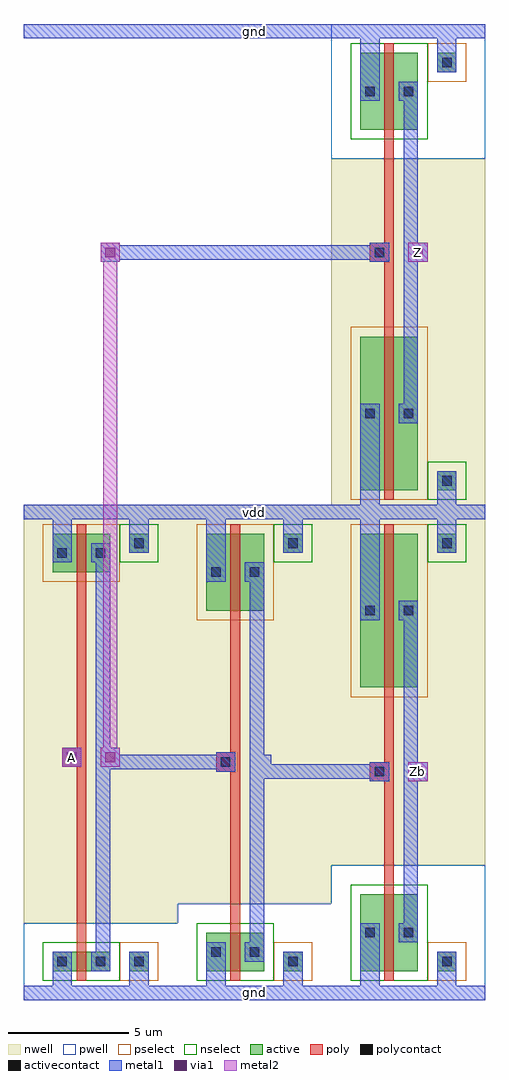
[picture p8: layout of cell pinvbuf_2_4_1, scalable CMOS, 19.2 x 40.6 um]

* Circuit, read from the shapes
.subckt pinvbuf_2_4_1 A Z Zb gnd vdd
M1 pinv_4_1/A A gnd gnd nfet w=0.8u l=0.4u
M2 pinv_5_2/A pinv_4_1/A gnd gnd nfet w=1.6u l=0.4u
M3 Zb pinv_5_2/A gnd gnd nfet w=3.2u l=0.4u
M4 Z pinv_4_1/A gnd gnd nfet w=3.2u l=0.4u
M5 pinv_4_1/A A vdd vdd pfet w=1.6u l=0.4u
M6 pinv_5_2/A pinv_4_1/A vdd vdd pfet w=3.2u l=0.4u
M7 Zb pinv_5_2/A vdd vdd pfet w=6.4u l=0.4u
M8 Z pinv_4_1/A vdd vdd pfet w=6.4u l=0.4u
.ends

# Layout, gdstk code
from math import pi, radians
import gdstk
lib = gdstk.Library(unit=1e-6, precision=1e-09)
def R(c, l, rs):  # rectangles x0, y0, x1, y1
    for r in rs: c.add(gdstk.rectangle(r[:2], r[2:], *l))
def A(c, l, x, y, w, h, nx, ny, dx, dy):  # array of equal rectangles
    R(c, l, [(x+i*dx, y+j*dy, x+i*dx+w, y+j*dy+h) for i in range(nx) for j in range(ny)])
pwell = (41, 0)
nwell = (42, 0)
active = (43, 0)
pselect = (44, 0)
nselect = (45, 0)
poly = (46, 0)
polycontact = (47, 0)
activecontact = (48, 0)
metal1 = (49, 0)
via1 = (50, 0)
metal2 = (51, 0)

active_contact_metal1_1x = lib.new_cell('active_contact_metal1_1x1_pn')
R(active_contact_metal1_1x, nwell, [(-1.2,-1.2,2,2)])
R(active_contact_metal1_1x, active, [(0,0,0.8,0.8)])
R(active_contact_metal1_1x, pselect, [(-0.4,-0.4,1.2,1.2)])
R(active_contact_metal1_1x, activecontact, [(0.2,0.2,0.6,0.6)])
R(active_contact_metal1_1x, metal1, [(0,0,0.8,0.8)])

pmos_m1_w1_6_a_p = lib.new_cell('pmos_m1_w1_6_a_p')
R(pmos_m1_w1_6_a_p, nwell, [(-1.2,-1.2,3.6,2.8)])
R(pmos_m1_w1_6_a_p, active, [(0,0,2.4,1.6)])
R(pmos_m1_w1_6_a_p, pselect, [(-0.4,-0.4,2.8,2)])
R(pmos_m1_w1_6_a_p, poly, [(1,-0.4,1.4,2), (1,-0.4,1.4,2)])
R(pmos_m1_w1_6_a_p, metal1, [(0,0.4,0.8,1.2), (1.6,0.4,2.4,1.2)])
pmos_m1_w1_6_a_p.add(gdstk.Reference(active_contact_metal1_1x, (0,0.4)))
pmos_m1_w1_6_a_p.add(gdstk.Reference(active_contact_metal1_1x, (1.6,0.4)))
pmos_m1_w1_6_a_p.add(gdstk.Label('G', (1.2,0.8), layer=46, texttype=0))
pmos_m1_w1_6_a_p.add(gdstk.Label('S', (0.4,0.8), layer=49, texttype=0))
pmos_m1_w1_6_a_p.add(gdstk.Label('D', (2,0.8), layer=49, texttype=0))

c_active_contact_metal1_1x = lib.new_cell('active_contact_metal1_1x1_np')
R(c_active_contact_metal1_1x, pwell, [(-1.2,-1.2,2,2)])
R(c_active_contact_metal1_1x, active, [(0,0,0.8,0.8)])
R(c_active_contact_metal1_1x, nselect, [(-0.4,-0.4,1.2,1.2)])
R(c_active_contact_metal1_1x, activecontact, [(0.2,0.2,0.6,0.6)])
R(c_active_contact_metal1_1x, metal1, [(0,0,0.8,0.8)])

nmos_m1_w0_8_a_p = lib.new_cell('nmos_m1_w0_8_a_p')
R(nmos_m1_w0_8_a_p, pwell, [(-1.2,-1.2,3.6,2)])
R(nmos_m1_w0_8_a_p, active, [(0,0,2.4,0.8)])
R(nmos_m1_w0_8_a_p, nselect, [(-0.4,-0.4,2.8,1.2)])
R(nmos_m1_w0_8_a_p, poly, [(1,-0.4,1.4,1.2), (1,-0.4,1.4,1.2)])
R(nmos_m1_w0_8_a_p, metal1, [(0,0,0.8,0.8), (1.6,0,2.4,0.8)])
nmos_m1_w0_8_a_p.add(gdstk.Reference(c_active_contact_metal1_1x, (0,0)))
nmos_m1_w0_8_a_p.add(gdstk.Reference(c_active_contact_metal1_1x, (1.6,0)))
nmos_m1_w0_8_a_p.add(gdstk.Label('G', (1.2,0.4), layer=46, texttype=0))
nmos_m1_w0_8_a_p.add(gdstk.Label('S', (0.4,0.4), layer=49, texttype=0))
nmos_m1_w0_8_a_p.add(gdstk.Label('D', (2,0.4), layer=49, texttype=0))

c_active_contact_metal1_1x_ = lib.new_cell('active_contact_metal1_1x1_nn')
R(c_active_contact_metal1_1x_, nwell, [(-1.2,-1.2,2,2)])
R(c_active_contact_metal1_1x_, active, [(0,0,0.8,0.8)])
R(c_active_contact_metal1_1x_, nselect, [(-0.4,-0.4,1.2,1.2)])
R(c_active_contact_metal1_1x_, activecontact, [(0.2,0.2,0.6,0.6)])
R(c_active_contact_metal1_1x_, metal1, [(0,0,0.8,0.8)])

c_active_contact_metal1_1x__ = lib.new_cell('active_contact_metal1_1x1_pp')
R(c_active_contact_metal1_1x__, pwell, [(-1.2,-1.2,2,2)])
R(c_active_contact_metal1_1x__, active, [(0,0,0.8,0.8)])
R(c_active_contact_metal1_1x__, pselect, [(-0.4,-0.4,1.2,1.2)])
R(c_active_contact_metal1_1x__, activecontact, [(0.2,0.2,0.6,0.6)])
R(c_active_contact_metal1_1x__, metal1, [(0,0,0.8,0.8)])

poly_contact_metal1_1x1 = lib.new_cell('poly_contact_metal1_1x1')
R(poly_contact_metal1_1x1, poly, [(0,0,0.8,0.8)])
R(poly_contact_metal1_1x1, polycontact, [(0.2,0.2,0.6,0.6)])
R(poly_contact_metal1_1x1, metal1, [(0,0,0.8,0.8)])

pinv_3 = lib.new_cell('pinv_3')
R(pinv_3, pwell, [(0,-0.3,6.4,2.9)])
R(pinv_3, nwell, [(0,2.9,6.4,20.3)])
R(pinv_3, poly, [(2.2,0.5,2.6,17.1), (2,9.4,2.2,10.2)])
R(pinv_3, metal1, [(0,-0.3,6.4,0.3), (1.2,-0.3,2,0.9), (4.4,0,5.2,1.3), (3,0.9,3.6,17.9), (1.6,9.4,2.4,10.2), (3.3,9.5,3.9,10.1), (1.2,17.9,2,20.3), (4.4,18.7,5.2,20), (0,19.7,6.4,20.3)])
pinv_3.add(gdstk.Reference(pmos_m1_w1_6_a_p, (1.2,17.5)))
pinv_3.add(gdstk.Reference(nmos_m1_w0_8_a_p, (1.2,0.9)))
pinv_3.add(gdstk.Reference(c_active_contact_metal1_1x_, (4.4,18.3)))
pinv_3.add(gdstk.Reference(c_active_contact_metal1_1x__, (4.4,0.9)))
pinv_3.add(gdstk.Reference(poly_contact_metal1_1x1, (1.6,9.4)))
pinv_3.add(gdstk.Label('gnd', (3.2,0), layer=49, texttype=0))
pinv_3.add(gdstk.Label('vdd', (3.2,20), layer=49, texttype=0))
pinv_3.add(gdstk.Label('A', (2,9.8), layer=49, texttype=0))
pinv_3.add(gdstk.Label('Z', (3.6,9.8), layer=49, texttype=0))

pmos_m1_w3_2_a_p = lib.new_cell('pmos_m1_w3_2_a_p')
R(pmos_m1_w3_2_a_p, nwell, [(-1.2,-1.2,3.6,4.4)])
R(pmos_m1_w3_2_a_p, active, [(0,0,2.4,3.2)])
R(pmos_m1_w3_2_a_p, pselect, [(-0.4,-0.4,2.8,3.6)])
R(pmos_m1_w3_2_a_p, poly, [(1,-0.4,1.4,3.6), (1,-0.4,1.4,3.6)])
R(pmos_m1_w3_2_a_p, metal1, [(0,1.2,0.8,2), (1.6,1.2,2.4,2)])
pmos_m1_w3_2_a_p.add(gdstk.Reference(active_contact_metal1_1x, (0,1.2)))
pmos_m1_w3_2_a_p.add(gdstk.Reference(active_contact_metal1_1x, (1.6,1.2)))
pmos_m1_w3_2_a_p.add(gdstk.Label('G', (1.2,1.6), layer=46, texttype=0))
pmos_m1_w3_2_a_p.add(gdstk.Label('S', (0.4,1.6), layer=49, texttype=0))
pmos_m1_w3_2_a_p.add(gdstk.Label('D', (2,1.6), layer=49, texttype=0))

nmos_m1_w1_6_a_p = lib.new_cell('nmos_m1_w1_6_a_p')
R(nmos_m1_w1_6_a_p, pwell, [(-1.2,-1.2,3.6,2.8)])
R(nmos_m1_w1_6_a_p, active, [(0,0,2.4,1.6)])
R(nmos_m1_w1_6_a_p, nselect, [(-0.4,-0.4,2.8,2)])
R(nmos_m1_w1_6_a_p, poly, [(1,-0.4,1.4,2), (1,-0.4,1.4,2)])
R(nmos_m1_w1_6_a_p, metal1, [(0,0.4,0.8,1.2), (1.6,0.4,2.4,1.2)])
nmos_m1_w1_6_a_p.add(gdstk.Reference(c_active_contact_metal1_1x, (0,0.4)))
nmos_m1_w1_6_a_p.add(gdstk.Reference(c_active_contact_metal1_1x, (1.6,0.4)))
nmos_m1_w1_6_a_p.add(gdstk.Label('G', (1.2,0.8), layer=46, texttype=0))
nmos_m1_w1_6_a_p.add(gdstk.Label('S', (0.4,0.8), layer=49, texttype=0))
nmos_m1_w1_6_a_p.add(gdstk.Label('D', (2,0.8), layer=49, texttype=0))

pinv_4 = lib.new_cell('pinv_4')
R(pinv_4, pwell, [(0,-0.3,6.4,3.7)])
R(pinv_4, nwell, [(0,3.7,6.4,20.3)])
R(pinv_4, poly, [(2.2,0.5,2.6,15.5), (2,9.2,2.2,10)])
R(pinv_4, metal1, [(0,-0.3,6.4,0.3), (1.2,-0.3,2,1.3), (4.4,0,5.2,1.3), (3,1.3,3.6,17.1), (1.6,9.2,2.4,10), (3.3,9.3,3.9,9.9), (1.2,17.1,2,20.3), (4.4,18.7,5.2,20), (0,19.7,6.4,20.3)])
pinv_4.add(gdstk.Reference(pmos_m1_w3_2_a_p, (1.2,15.9)))
pinv_4.add(gdstk.Reference(nmos_m1_w1_6_a_p, (1.2,0.9)))
pinv_4.add(gdstk.Reference(c_active_contact_metal1_1x_, (4.4,18.3)))
pinv_4.add(gdstk.Reference(c_active_contact_metal1_1x__, (4.4,0.9)))
pinv_4.add(gdstk.Reference(poly_contact_metal1_1x1, (1.6,9.2)))
pinv_4.add(gdstk.Label('gnd', (3.2,0), layer=49, texttype=0))
pinv_4.add(gdstk.Label('vdd', (3.2,20), layer=49, texttype=0))
pinv_4.add(gdstk.Label('A', (2,9.6), layer=49, texttype=0))
pinv_4.add(gdstk.Label('Z', (3.6,9.6), layer=49, texttype=0))

pmos_m1_w6_4_a_p = lib.new_cell('pmos_m1_w6_4_a_p')
R(pmos_m1_w6_4_a_p, nwell, [(-1.2,-1.2,3.6,7.6)])
R(pmos_m1_w6_4_a_p, active, [(0,0,2.4,6.4)])
R(pmos_m1_w6_4_a_p, pselect, [(-0.4,-0.4,2.8,6.8)])
R(pmos_m1_w6_4_a_p, poly, [(1,-0.4,1.4,6.8), (1,-0.4,1.4,6.8)])
R(pmos_m1_w6_4_a_p, metal1, [(0,2.8,0.8,3.6), (1.6,2.8,2.4,3.6)])
pmos_m1_w6_4_a_p.add(gdstk.Reference(active_contact_metal1_1x, (0,2.8)))
pmos_m1_w6_4_a_p.add(gdstk.Reference(active_contact_metal1_1x, (1.6,2.8)))
pmos_m1_w6_4_a_p.add(gdstk.Label('G', (1.2,3.2), layer=46, texttype=0))
pmos_m1_w6_4_a_p.add(gdstk.Label('S', (0.4,3.2), layer=49, texttype=0))
pmos_m1_w6_4_a_p.add(gdstk.Label('D', (2,3.2), layer=49, texttype=0))

nmos_m1_w3_2_a_p = lib.new_cell('nmos_m1_w3_2_a_p')
R(nmos_m1_w3_2_a_p, pwell, [(-1.2,-1.2,3.6,4.4)])
R(nmos_m1_w3_2_a_p, active, [(0,0,2.4,3.2)])
R(nmos_m1_w3_2_a_p, nselect, [(-0.4,-0.4,2.8,3.6)])
R(nmos_m1_w3_2_a_p, poly, [(1,-0.4,1.4,3.6), (1,-0.4,1.4,3.6)])
R(nmos_m1_w3_2_a_p, metal1, [(0,1.2,0.8,2), (1.6,1.2,2.4,2)])
nmos_m1_w3_2_a_p.add(gdstk.Reference(c_active_contact_metal1_1x, (0,1.2)))
nmos_m1_w3_2_a_p.add(gdstk.Reference(c_active_contact_metal1_1x, (1.6,1.2)))
nmos_m1_w3_2_a_p.add(gdstk.Label('G', (1.2,1.6), layer=46, texttype=0))
nmos_m1_w3_2_a_p.add(gdstk.Label('S', (0.4,1.6), layer=49, texttype=0))
nmos_m1_w3_2_a_p.add(gdstk.Label('D', (2,1.6), layer=49, texttype=0))

pinv_5 = lib.new_cell('pinv_5')
R(pinv_5, pwell, [(0,-0.3,6.4,5.3)])
R(pinv_5, nwell, [(0,5.3,6.4,20.3)])
R(pinv_5, poly, [(2.2,0.5,2.6,12.3), (2,8.8,2.2,9.6)])
R(pinv_5, metal1, [(0,-0.3,6.4,0.3), (1.2,-0.3,2,2.1), (4.4,0,5.2,1.3), (3,2.1,3.6,15.5), (1.6,8.8,2.4,9.6), (3.3,8.9,3.9,9.5), (1.2,15.5,2,20.3), (4.4,18.7,5.2,20), (0,19.7,6.4,20.3)])
pinv_5.add(gdstk.Reference(pmos_m1_w6_4_a_p, (1.2,12.7)))
pinv_5.add(gdstk.Reference(nmos_m1_w3_2_a_p, (1.2,0.9)))
pinv_5.add(gdstk.Reference(c_active_contact_metal1_1x_, (4.4,18.3)))
pinv_5.add(gdstk.Reference(c_active_contact_metal1_1x__, (4.4,0.9)))
pinv_5.add(gdstk.Reference(poly_contact_metal1_1x1, (1.6,8.8)))
pinv_5.add(gdstk.Label('gnd', (3.2,0), layer=49, texttype=0))
pinv_5.add(gdstk.Label('vdd', (3.2,20), layer=49, texttype=0))
pinv_5.add(gdstk.Label('A', (2,9.2), layer=49, texttype=0))
pinv_5.add(gdstk.Label('Z', (3.6,9.2), layer=49, texttype=0))

metal1_via1_metal2_1x1 = lib.new_cell('metal1_via1_metal2_1x1')
R(metal1_via1_metal2_1x1, metal1, [(0,0,0.8,0.8)])
R(metal1_via1_metal2_1x1, via1, [(0.2,0.2,0.6,0.6)])
R(metal1_via1_metal2_1x1, metal2, [(0,0,0.8,0.8)])

pinvbuf_2_4_1 = lib.new_cell('pinvbuf_2_4_1')
A(pinvbuf_2_4_1, metal1, 0, -0.3, 19.2, 0.6, 1, 3, 0, 20)
R(pinvbuf_2_4_1, metal1, [(9.7,8.9,10.3,9.5), (10,8.9,14.8,9.5), (9.7,9.2,10.3,9.6), (3.3,9.3,3.9,9.9), (3.6,9.3,8.4,9.9), (3.3,9.6,3.9,9.8), (3.6,30.5,14.8,31.1)])
R(pinvbuf_2_4_1, metal2, [(16.1,8.9,16.7,9.5), (1.7,9.5,2.3,10.1), (3.3,9.8,3.9,30.8), (16.1,30.5,16.7,31.1)])
pinvbuf_2_4_1.add(gdstk.Reference(pinv_3, (0,0)))
pinvbuf_2_4_1.add(gdstk.Reference(pinv_4, (6.4,0)))
pinvbuf_2_4_1.add(gdstk.Reference(pinv_5, (12.8,0)))
pinvbuf_2_4_1.add(gdstk.Reference(pinv_5, (12.8,40), x_reflection=True))
pinvbuf_2_4_1.add(gdstk.Reference(metal1_via1_metal2_1x1, (4,30.4), rotation=pi/2))
pinvbuf_2_4_1.add(gdstk.Reference(metal1_via1_metal2_1x1, (3.2,9.4)))
pinvbuf_2_4_1.add(gdstk.Reference(metal1_via1_metal2_1x1, (16,30.4)))
pinvbuf_2_4_1.add(gdstk.Reference(metal1_via1_metal2_1x1, (16,8.8)))
pinvbuf_2_4_1.add(gdstk.Reference(metal1_via1_metal2_1x1, (1.6,9.4)))
pinvbuf_2_4_1.add(gdstk.Label('vdd', (9.6,20), layer=49, texttype=0))
pinvbuf_2_4_1.add(gdstk.Label('gnd', (9.6,40), layer=49, texttype=0))
pinvbuf_2_4_1.add(gdstk.Label('gnd', (9.6,0), layer=49, texttype=0))
pinvbuf_2_4_1.add(gdstk.Label('Z', (16.4,30.8), layer=51, texttype=0))
pinvbuf_2_4_1.add(gdstk.Label('Zb', (16.4,9.2), layer=51, texttype=0))
pinvbuf_2_4_1.add(gdstk.Label('A', (2,9.8), layer=51, texttype=0))

lib.write_gds('pinvbuf_2_4_1.gds')
